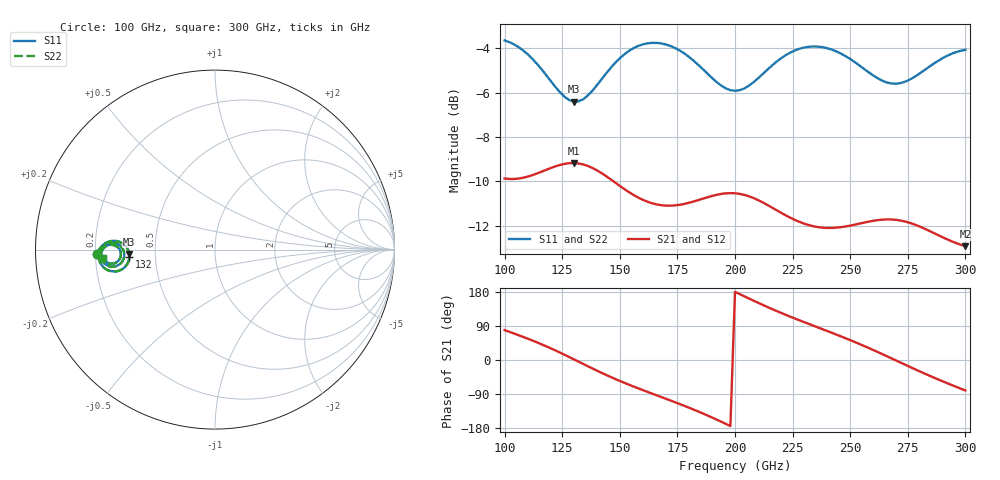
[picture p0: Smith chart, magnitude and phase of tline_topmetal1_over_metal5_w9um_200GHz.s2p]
#  GHZ S DB R 50
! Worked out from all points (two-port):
!   101 points, 100 GHz to 300 GHz, reference 50 ohm
!   highest |S21| = -9.17 dB at 130 GHz (marker M1); lowest = -12.9 dB at 300 GHz (marker M2)
!   |S21| within 3 dB of the highest: start of sweep to 283.3 GHz
!   lowest |S11| = -6.4 dB at 130 GHz (marker M3), VSWR 2.83, Z = 17.7 - j1.1 ohm
!   |S11| at or under -10 dB: nowhere
!   |S22| runs from -6.4 to -3.7 dB; largest |S21 - S12| = 4e-14
!   S11 on the Smith chart (normalised r, x): 100 GHz: 0.21, -0.02; 132 GHz: 0.35, -0.04; 300 GHz: 0.23, -0.03
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100  -3.66 -177.7  -9.87 78.9  -9.87 78.9  -3.65 -177.7
116  -4.95 175.0  -9.56 41.5  -9.56 41.5  -4.95 175.1
124  -5.99 177.3  -9.26 19.7  -9.26 19.7  -5.98 177.4
130  -6.41 -177.1  -9.17 2.0  -9.17 2.0  -6.41 -177.1
132  -6.40 -174.9  -9.19 -4.0  -9.19 -4.0  -6.40 -174.9
134  -6.31 -172.9  -9.23 -10.0  -9.23 -10.0  -6.31 -172.8
142  -5.41 -167.8  -9.62 -33.6  -9.62 -33.6  -5.41 -167.8
150  -4.46 -168.6  -10.20 -55.2  -10.20 -55.2  -4.45 -168.5
160  -3.83 -173.4  -10.82 -79.5  -10.82 -79.5  -3.83 -173.4
168  -3.79 -177.9  -11.07 -97.7  -11.07 -97.7  -3.79 -177.8
184  -4.75 176.2  -10.84 -135.8  -10.84 -135.8  -4.74 176.3
192  -5.53 177.6  -10.60 -157.2  -10.60 -157.2  -5.52 177.7
200  -5.92 -177.2  -10.53 179.9  -10.53 179.9  -5.92 -177.1
208  -5.54 -171.9  -10.74 156.7  -10.74 156.7  -5.53 -171.8
216  -4.79 -170.5  -11.17 134.7  -11.17 134.7  -4.78 -170.4
224  -4.20 -172.5  -11.63 114.3  -11.63 114.3  -4.20 -172.3
234  -3.93 -176.7  -12.01 90.6  -12.01 90.6  -3.92 -176.6
252  -4.63 177.3  -11.94 47.4  -11.94 47.4  -4.62 177.5
268  -5.59 -178.3  -11.71 4.1  -11.71 4.1  -5.58 -178.1
276  -5.41 -174.0  -11.87 -18.5  -11.87 -18.5  -5.40 -173.9
284  -4.86 -172.3  -12.21 -40.3  -12.21 -40.3  -4.85 -172.1
300  -4.08 -175.8  -12.91 -80.4  -12.91 -80.4  -4.07 -175.6
